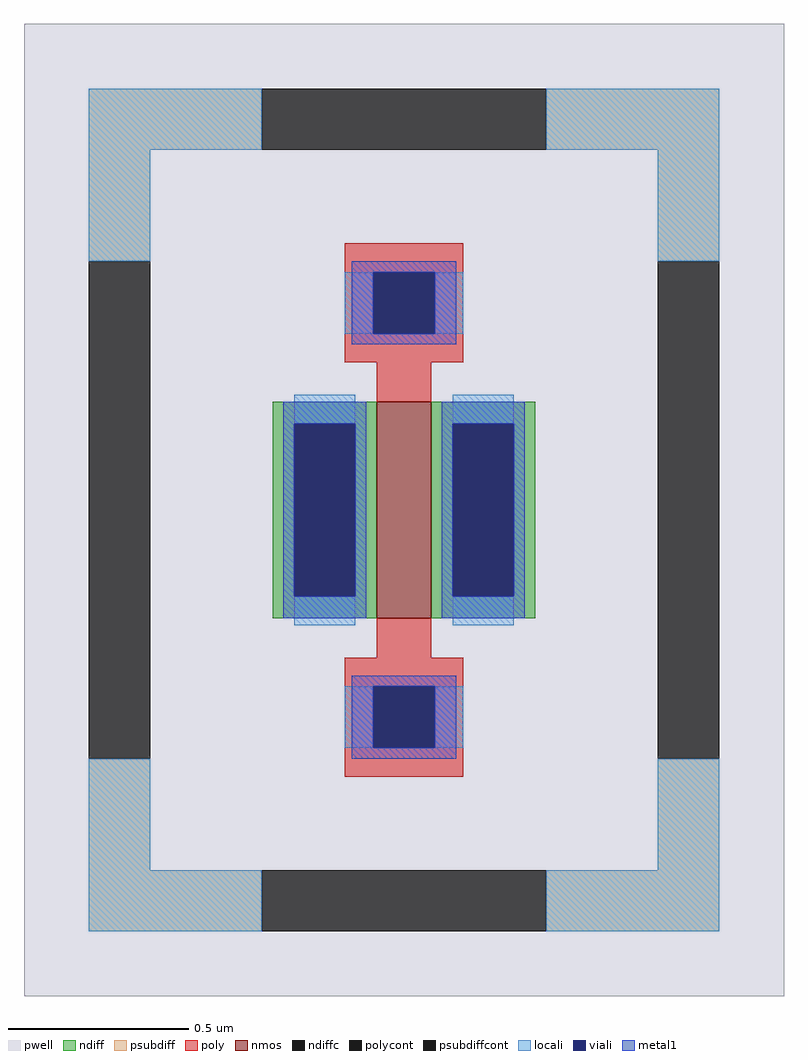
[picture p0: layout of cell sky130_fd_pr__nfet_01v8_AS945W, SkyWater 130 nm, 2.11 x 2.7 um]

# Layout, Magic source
magic
tech sky130A
magscale 1 2
<< pwell >>
rect -211 -270 211 270
<< nmos >>
rect -15 -60 15 60
<< ndiff >>
rect -73 48 -15 60
rect -73 -48 -61 48
rect -27 -48 -15 48
rect -73 -60 -15 -48
rect 15 48 73 60
rect 15 -48 27 48
rect 61 -48 73 48
rect 15 -60 73 -48
<< ndiffc >>
rect -61 -48 -27 48
rect 27 -48 61 48
<< psubdiff >>
rect -175 200 -79 234
rect 79 200 175 234
rect -175 138 -141 200
rect 141 138 175 200
rect -175 -200 -141 -138
rect 141 -200 175 -138
rect -175 -234 -79 -200
rect 79 -234 175 -200
<< psubdiffcont >>
rect -79 200 79 234
rect -175 -138 -141 138
rect 141 -138 175 138
rect -79 -234 79 -200
<< poly >>
rect -33 132 33 148
rect -33 98 -17 132
rect 17 98 33 132
rect -33 82 33 98
rect -15 60 15 82
rect -15 -82 15 -60
rect -33 -98 33 -82
rect -33 -132 -17 -98
rect 17 -132 33 -98
rect -33 -148 33 -132
<< polycont >>
rect -17 98 17 132
rect -17 -132 17 -98
<< locali >>
rect -175 200 -79 234
rect 79 200 175 234
rect -175 138 -141 200
rect 141 138 175 200
rect -33 98 -17 132
rect 17 98 33 132
rect -61 48 -27 64
rect -61 -64 -27 -48
rect 27 48 61 64
rect 27 -64 61 -48
rect -33 -132 -17 -98
rect 17 -132 33 -98
rect -175 -200 -141 -138
rect 141 -200 175 -138
rect -175 -234 -79 -200
rect 79 -234 175 -200
<< viali >>
rect -17 98 17 132
rect -61 -48 -27 48
rect 27 -48 61 48
rect -17 -132 17 -98
<< metal1 >>
rect -29 132 29 138
rect -29 98 -17 132
rect 17 98 29 132
rect -29 92 29 98
rect -67 48 -21 60
rect -67 -48 -61 48
rect -27 -48 -21 48
rect -67 -60 -21 -48
rect 21 48 67 60
rect 21 -48 27 48
rect 61 -48 67 48
rect 21 -60 67 -48
rect -29 -98 29 -92
rect -29 -132 -17 -98
rect 17 -132 29 -98
rect -29 -138 29 -132
<< properties >>
string gencell sky130_fd_pr__nfet_01v8
string FIXED_BBOX -158 -217 158 217
string parameters w 0.6 l 0.150 m 1 nf 1 diffcov 100 polycov 100 guard 1 glc 1 grc 1 gtc 1 gbc 1 tbcov 100 rlcov 100 topc 1 botc 1 poverlap 0 doverlap 1 lmin 0.15 wmin 0.42 compatible {sky130_fd_pr__nfet_01v8 sky130_fd_pr__nfet_01v8_lvt  sky130_fd_bs_flash__special_sonosfet_star  sky130_fd_pr__nfet_g5v0d10v5 sky130_fd_pr__nfet_05v0_nvt} full_metal 1 viasrc 100 viadrn 100 viagate 100 viagb 0 viagr 0 viagl 0 viagt 0
string library sky130
<< end >>
